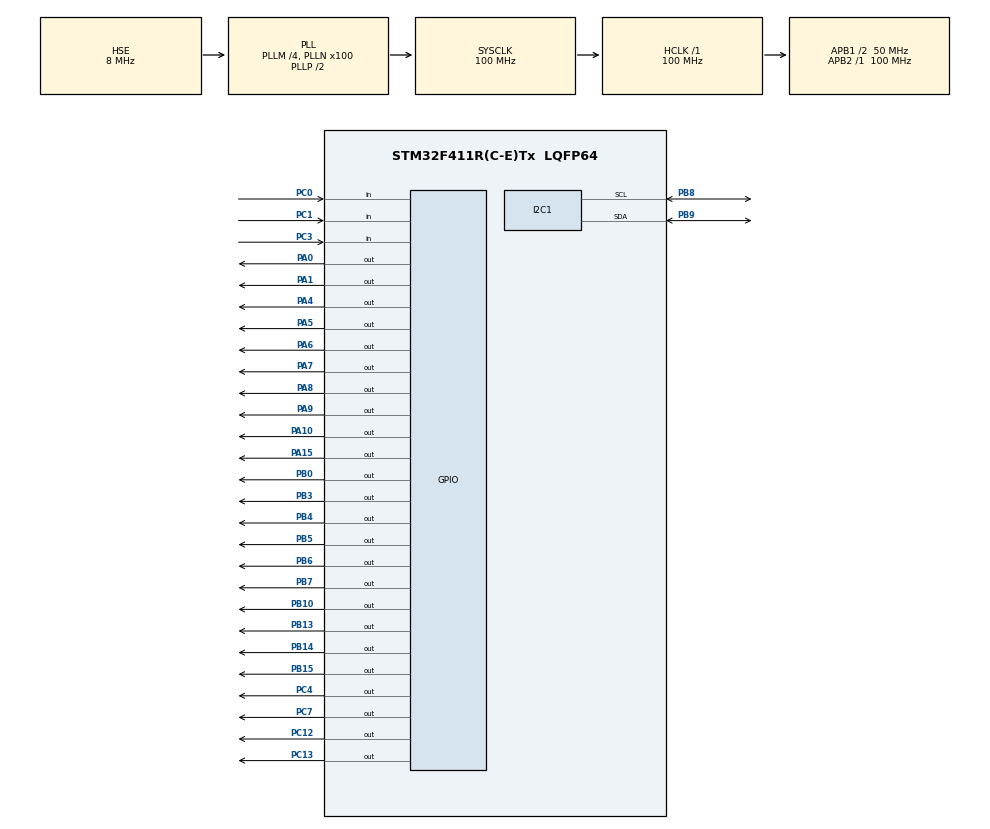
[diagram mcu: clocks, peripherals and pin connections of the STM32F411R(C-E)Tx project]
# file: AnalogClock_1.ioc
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Mcu.Family=STM32F4
Mcu.Name=STM32F411R(C-E)Tx
Mcu.Package=LQFP64
NVIC.PriorityGroup=NVIC_PRIORITYGROUP_4
NVIC.TIM1_BRK_TIM9_IRQn=true\:0\:0\:false\:false\:true\:true\:true\:true
NVIC.TIM3_IRQn=true\:0\:0\:false\:false\:true\:true\:true\:true
NVIC.TIM4_IRQn=true\:0\:0\:false\:false\:true\:true\:true\:true
PA0-WKUP.Signal=GPIO_Output
PA1.Signal=GPIO_Output
PA10.Signal=GPIO_Output
PA13.Mode=Serial_Wire
PA13.Signal=SYS_JTMS-SWDIO
PA14.Mode=Serial_Wire
PA14.Signal=SYS_JTCK-SWCLK
PA15.Signal=GPIO_Output
PA4.Signal=GPIO_Output
PA5.Signal=GPIO_Output
PA6.Signal=GPIO_Output
PA7.Signal=GPIO_Output
PA8.Signal=GPIO_Output
PA9.Signal=GPIO_Output
PB0.Signal=GPIO_Output
PB10.Signal=GPIO_Output
PB13.Signal=GPIO_Output
PB14.Signal=GPIO_Output
PB15.Signal=GPIO_Output
PB3.Signal=GPIO_Output
PB4.Signal=GPIO_Output
PB5.Signal=GPIO_Output
PB6.Signal=GPIO_Output
PB7.Signal=GPIO_Output
PB8.Mode=I2C
PB8.Signal=I2C1_SCL
PB9.Mode=I2C
PB9.Signal=I2C1_SDA
PC0.Signal=GPIO_Input
PC1.Signal=GPIO_Input
PC12.Signal=GPIO_Output
PC13-ANTI_TAMP.Signal=GPIO_Output
PC3.Signal=GPIO_Input
PC4.Signal=GPIO_Output
PC7.Signal=GPIO_Output
PH0\ -\ OSC_IN.Mode=HSE-External-Oscillator
PH0\ -\ OSC_IN.Signal=RCC_OSC_IN
PH1\ -\ OSC_OUT.Mode=HSE-External-Oscillator
PH1\ -\ OSC_OUT.Signal=RCC_OSC_OUT
ProjectManager.HeapSize=0x200
ProjectManager.StackSize=0x400
ProjectManager.TargetToolchain=STM32CubeIDE
RCC.48MHZClocksFreq_Value=50000000
RCC.AHBFreq_Value=100000000
RCC.APB1CLKDivider=RCC_HCLK_DIV2
RCC.APB1Freq_Value=50000000
RCC.APB1TimFreq_Value=100000000
RCC.APB2Freq_Value=100000000
RCC.APB2TimFreq_Value=100000000
RCC.CortexFreq_Value=100000000
RCC.HCLKFreq_Value=100000000
RCC.HSE_VALUE=8000000
RCC.HSI_VALUE=16000000
RCC.LSE_VALUE=32768
RCC.PLLM=4
RCC.PLLN=100
RCC.PLLSourceVirtual=RCC_PLLSOURCE_HSE
RCC.SYSCLKFreq_VALUE=100000000
RCC.SYSCLKSource=RCC_SYSCLKSOURCE_PLLCLK
RCC.VCOOutputFreq_Value=200000000
TIM4.Period=1000 - 1
TIM4.Prescaler=1000 - 1
TIM9.AutoReloadPreload=TIM_AUTORELOAD_PRELOAD_ENABLE
TIM9.Period=1000-1
TIM9.Prescaler=100-1
VP_TIM3_VS_ClockSourceINT.Mode=Internal
VP_TIM4_VS_ClockSourceINT.Mode=Internal
VP_TIM9_VS_ClockSourceINT.Mode=Internal
board=custom

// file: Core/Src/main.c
/* USER CODE BEGIN Header */
/**
 ******************************************************************************
 * @file           : main.c
 * @brief          : Main program body
 ******************************************************************************
 * @attention
 *
 * Copyright (c) 2026 STMicroelectronics.
 * All rights reserved.
 *
 * This software is licensed under terms that can be found in the LICENSE file
 * in the root directory of this software component.
 * If no LICENSE file comes with this software, it is provided AS-IS.
 *
 ******************************************************************************
 */
/* USER CODE END Header */
#include "main.h"

/* USER CODE BEGIN Includes */
#include "ap/ap_main.h"
#include "ap/ClockNeedle/ClockNeedle.h"
#include "ap/Display/Display.h"
#include "ap/StopWatch/StopWatch.h"
#include "ap/TimeClock/TimeClock.h"
/* USER CODE END Includes */

I2C_HandleTypeDef hi2c1;

TIM_HandleTypeDef htim3;
TIM_HandleTypeDef htim4;
TIM_HandleTypeDef htim9;

void SystemClock_Config(void);
static void MX_GPIO_Init(void);
static void MX_TIM9_Init(void);
static void MX_TIM3_Init(void);
static void MX_TIM4_Init(void);
static void MX_I2C1_Init(void);

/* USER CODE BEGIN 0 */
void HAL_TIM_PeriodElapsedCallback(TIM_HandleTypeDef *htim)
{
	if (htim->Instance == TIM9)
	{
		ClockNeedle_ISR();
	}
	else if (htim->Instance == TIM3) {
		//fnd_show_number();
		disp_ISR();
	}
	else if (htim->Instance == TIM4) {
		TimeClock_ISR();
		StopWatch_ISR();
	}
}
/* USER CODE END 0 */

int main(void)
{

  /* MCU Configuration--------------------------------------------------------*/

  /* Reset of all peripherals, Initializes the Flash interface and the Systick. */
  HAL_Init();

  /* Configure the system clock */
  SystemClock_Config();

  /* Initialize all configured peripherals */
  MX_GPIO_Init();
  MX_TIM9_Init();
  MX_TIM3_Init();
  MX_TIM4_Init();
  MX_I2C1_Init();
  /* USER CODE BEGIN 2 */
  ap_init();
  /* USER CODE END 2 */

  /* Infinite loop */
  /* USER CODE BEGIN WHILE */
  while (1) {
    ap_main();
  }
    /* USER CODE END WHILE */

}

void SystemClock_Config(void)
{
  RCC_OscInitTypeDef RCC_OscInitStruct = {0};
  RCC_ClkInitTypeDef RCC_ClkInitStruct = {0};

  /** Configure the main internal regulator output voltage
  */
  __HAL_RCC_PWR_CLK_ENABLE();
  __HAL_PWR_VOLTAGESCALING_CONFIG(PWR_REGULATOR_VOLTAGE_SCALE1);

  /** Initializes the RCC Oscillators according to the specified parameters
  * in the RCC_OscInitTypeDef structure.
  */
  RCC_OscInitStruct.OscillatorType = RCC_OSCILLATORTYPE_HSE;
  RCC_OscInitStruct.HSEState = RCC_HSE_ON;
  RCC_OscInitStruct.PLL.PLLState = RCC_PLL_ON;
  RCC_OscInitStruct.PLL.PLLSource = RCC_PLLSOURCE_HSE;
  RCC_OscInitStruct.PLL.PLLM = 4;
  RCC_OscInitStruct.PLL.PLLN = 100;
  RCC_OscInitStruct.PLL.PLLP = RCC_PLLP_DIV2;
  RCC_OscInitStruct.PLL.PLLQ = 4;
  if (HAL_RCC_OscConfig(&RCC_OscInitStruct) != HAL_OK)
  {
    Error_Handler();
  }

  /** Initializes the CPU, AHB and APB buses clocks
  */
  RCC_ClkInitStruct.ClockType = RCC_CLOCKTYPE_HCLK|RCC_CLOCKTYPE_SYSCLK
                              |RCC_CLOCKTYPE_PCLK1|RCC_CLOCKTYPE_PCLK2;
  RCC_ClkInitStruct.SYSCLKSource = RCC_SYSCLKSOURCE_PLLCLK;
  RCC_ClkInitStruct.AHBCLKDivider = RCC_SYSCLK_DIV1;
  RCC_ClkInitStruct.APB1CLKDivider = RCC_HCLK_DIV2;
  RCC_ClkInitStruct.APB2CLKDivider = RCC_HCLK_DIV1;

  if (HAL_RCC_ClockConfig(&RCC_ClkInitStruct, FLASH_LATENCY_3) != HAL_OK)
  {
    Error_Handler();
  }
}

static void MX_I2C1_Init(void)
{

  hi2c1.Instance = I2C1;
  hi2c1.Init.ClockSpeed = 100000;
  hi2c1.Init.DutyCycle = I2C_DUTYCYCLE_2;
  hi2c1.Init.OwnAddress1 = 0;
  hi2c1.Init.AddressingMode = I2C_ADDRESSINGMODE_7BIT;
  hi2c1.Init.DualAddressMode = I2C_DUALADDRESS_DISABLE;
  hi2c1.Init.OwnAddress2 = 0;
  hi2c1.Init.GeneralCallMode = I2C_GENERALCALL_DISABLE;
  hi2c1.Init.NoStretchMode = I2C_NOSTRETCH_DISABLE;
  if (HAL_I2C_Init(&hi2c1) != HAL_OK)
  {
    Error_Handler();
  }

}

static void MX_TIM3_Init(void)
{

  TIM_ClockConfigTypeDef sClockSourceConfig = {0};
  TIM_MasterConfigTypeDef sMasterConfig = {0};

  htim3.Instance = TIM3;
  htim3.Init.Prescaler = 0;
  htim3.Init.CounterMode = TIM_COUNTERMODE_UP;
  htim3.Init.Period = 65535;
  htim3.Init.ClockDivision = TIM_CLOCKDIVISION_DIV1;
  htim3.Init.AutoReloadPreload = TIM_AUTORELOAD_PRELOAD_DISABLE;
  if (HAL_TIM_Base_Init(&htim3) != HAL_OK)
  {
    Error_Handler();
  }
  sClockSourceConfig.ClockSource = TIM_CLOCKSOURCE_INTERNAL;
  if (HAL_TIM_ConfigClockSource(&htim3, &sClockSourceConfig) != HAL_OK)
  {
    Error_Handler();
  }
  sMasterConfig.MasterOutputTrigger = TIM_TRGO_RESET;
  sMasterConfig.MasterSlaveMode = TIM_MASTERSLAVEMODE_DISABLE;
  if (HAL_TIMEx_MasterConfigSynchronization(&htim3, &sMasterConfig) != HAL_OK)
  {
    Error_Handler();
  }

}

static void MX_TIM4_Init(void)
{

  TIM_ClockConfigTypeDef sClockSourceConfig = {0};
  TIM_MasterConfigTypeDef sMasterConfig = {0};

  htim4.Instance = TIM4;
  htim4.Init.Prescaler = 1000 - 1;
  htim4.Init.CounterMode = TIM_COUNTERMODE_UP;
  htim4.Init.Period = 1000 - 1;
  htim4.Init.ClockDivision = TIM_CLOCKDIVISION_DIV1;
  htim4.Init.AutoReloadPreload = TIM_AUTORELOAD_PRELOAD_DISABLE;
  if (HAL_TIM_Base_Init(&htim4) != HAL_OK)
  {
    Error_Handler();
  }
  sClockSourceConfig.ClockSource = TIM_CLOCKSOURCE_INTERNAL;
  if (HAL_TIM_ConfigClockSource(&htim4, &sClockSourceConfig) != HAL_OK)
  {
    Error_Handler();
  }
  sMasterConfig.MasterOutputTrigger = TIM_TRGO_RESET;
  sMasterConfig.MasterSlaveMode = TIM_MASTERSLAVEMODE_DISABLE;
  if (HAL_TIMEx_MasterConfigSynchronization(&htim4, &sMasterConfig) != HAL_OK)
  {
    Error_Handler();
  }

}

static void MX_TIM9_Init(void)
{

  TIM_ClockConfigTypeDef sClockSourceConfig = {0};

  htim9.Instance = TIM9;
  htim9.Init.Prescaler = 100-1;
  htim9.Init.CounterMode = TIM_COUNTERMODE_UP;
  htim9.Init.Period = 1000-1;
  htim9.Init.ClockDivision = TIM_CLOCKDIVISION_DIV1;
  htim9.Init.AutoReloadPreload = TIM_AUTORELOAD_PRELOAD_ENABLE;
  if (HAL_TIM_Base_Init(&htim9) != HAL_OK)
  {
    Error_Handler();
  }
  sClockSourceConfig.ClockSource = TIM_CLOCKSOURCE_INTERNAL;
  if (HAL_TIM_ConfigClockSource(&htim9, &sClockSourceConfig) != HAL_OK)
  {
    Error_Handler();
  }

}

static void MX_GPIO_Init(void)
{
  GPIO_InitTypeDef GPIO_InitStruct = {0};

  /* GPIO Ports Clock Enable */
  __HAL_RCC_GPIOH_CLK_ENABLE();
  __HAL_RCC_GPIOC_CLK_ENABLE();
  __HAL_RCC_GPIOA_CLK_ENABLE();
  __HAL_RCC_GPIOB_CLK_ENABLE();

  /*Configure GPIO pin Output Level */
  HAL_GPIO_WritePin(GPIOA, GPIO_PIN_0|GPIO_PIN_1|GPIO_PIN_4|GPIO_PIN_5
                          |GPIO_PIN_6|GPIO_PIN_7|GPIO_PIN_8|GPIO_PIN_9
                          |GPIO_PIN_10, GPIO_PIN_RESET);

  /*Configure GPIO pin Output Level */
  HAL_GPIO_WritePin(GPIOC, GPIO_PIN_4|GPIO_PIN_7, GPIO_PIN_RESET);

  /*Configure GPIO pin Output Level */
  HAL_GPIO_WritePin(GPIOB, GPIO_PIN_0|GPIO_PIN_10|GPIO_PIN_13|GPIO_PIN_14
                          |GPIO_PIN_15|GPIO_PIN_3|GPIO_PIN_4|GPIO_PIN_5
                          |GPIO_PIN_6, GPIO_PIN_RESET);

  /*Configure GPIO pins : PC0 PC1 PC3 */
  GPIO_InitStruct.Pin = GPIO_PIN_0|GPIO_PIN_1|GPIO_PIN_3;
  GPIO_InitStruct.Mode = GPIO_MODE_INPUT;
  GPIO_InitStruct.Pull = GPIO_NOPULL;
  HAL_GPIO_Init(GPIOC, &GPIO_InitStruct);

  /*Configure GPIO pins : PA0 PA1 PA4 PA5
                           PA6 PA7 PA8 PA9
                           PA10 */
  GPIO_InitStruct.Pin = GPIO_PIN_0|GPIO_PIN_1|GPIO_PIN_4|GPIO_PIN_5
                          |GPIO_PIN_6|GPIO_PIN_7|GPIO_PIN_8|GPIO_PIN_9
                          |GPIO_PIN_10;
  GPIO_InitStruct.Mode = GPIO_MODE_OUTPUT_PP;
  GPIO_InitStruct.Pull = GPIO_NOPULL;
  GPIO_InitStruct.Speed = GPIO_SPEED_FREQ_LOW;
  HAL_GPIO_Init(GPIOA, &GPIO_InitStruct);

  /*Configure GPIO pins : PC4 PC7 */
  GPIO_InitStruct.Pin = GPIO_PIN_4|GPIO_PIN_7;
  GPIO_InitStruct.Mode = GPIO_MODE_OUTPUT_PP;
  GPIO_InitStruct.Pull = GPIO_NOPULL;
  GPIO_InitStruct.Speed = GPIO_SPEED_FREQ_LOW;
  HAL_GPIO_Init(GPIOC, &GPIO_InitStruct);

  /*Configure GPIO pins : PB0 PB10 PB13 PB14
                           PB15 PB3 PB4 PB5
                           PB6 */
  GPIO_InitStruct.Pin = GPIO_PIN_0|GPIO_PIN_10|GPIO_PIN_13|GPIO_PIN_14
                          |GPIO_PIN_15|GPIO_PIN_3|GPIO_PIN_4|GPIO_PIN_5
                          |GPIO_PIN_6;
  GPIO_InitStruct.Mode = GPIO_MODE_OUTPUT_PP;
  GPIO_InitStruct.Pull = GPIO_NOPULL;
  GPIO_InitStruct.Speed = GPIO_SPEED_FREQ_LOW;
  HAL_GPIO_Init(GPIOB, &GPIO_InitStruct);

}

void Error_Handler(void)
{
	__disable_irq();
	while (1)
	{
	}
}
